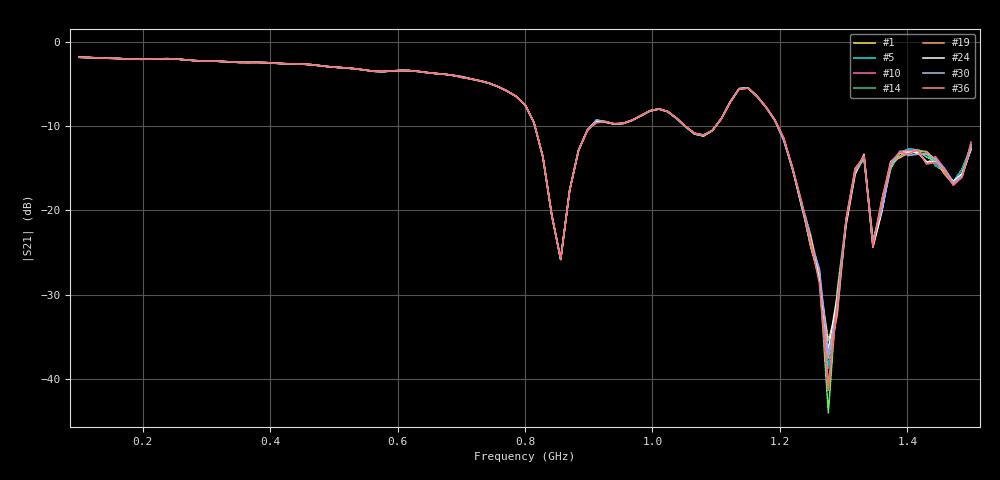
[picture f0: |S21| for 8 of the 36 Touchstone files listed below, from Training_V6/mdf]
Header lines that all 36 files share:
! NanoVNA-App
! Start: 100MHz Stop: 1,5GHz Points: 101
! S-Parameter data: F S11 S21 S12 S22
# Hz S RI R 50
!  Frequency  S11_Real  S11_Imag  S21_Real  S21_Imag  S12_Real  S12_Imag  S22_Real  S22_Imag
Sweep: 100 MHz to 1.5 GHz
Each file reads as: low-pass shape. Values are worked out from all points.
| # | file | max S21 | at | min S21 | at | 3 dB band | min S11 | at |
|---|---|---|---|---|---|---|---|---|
| 1 | mdf (801).s2p | -1.80 dB | 100 MHz | -35.5 dB | 1.276 GHz | 100 MHz-730 MHz | -39.0 dB | 128 MHz |
| 2 | mdf (805).s2p | -1.80 dB | 100 MHz | -37.0 dB | 1.276 GHz | 100 MHz-730 MHz | -39.0 dB | 128 MHz |
| 3 | mdf (806).s2p | -1.80 dB | 100 MHz | -39.0 dB | 1.276 GHz | 100 MHz-730 MHz | -39.0 dB | 128 MHz |
| 4 | mdf (807).s2p | -1.80 dB | 100 MHz | -39.2 dB | 1.276 GHz | 100 MHz-730 MHz | -39.0 dB | 128 MHz |
| 5 | mdf (808).s2p | -1.80 dB | 100 MHz | -38.7 dB | 1.276 GHz | 100 MHz-730 MHz | -39.0 dB | 128 MHz |
| 6 | mdf (809).s2p | -1.80 dB | 100 MHz | -37.3 dB | 1.276 GHz | 100 MHz-730 MHz | -39.0 dB | 128 MHz |
| 7 | mdf (810).s2p | -1.80 dB | 100 MHz | -36.0 dB | 1.276 GHz | 100 MHz-730 MHz | -39.0 dB | 128 MHz |
| 8 | mdf (811).s2p | -1.80 dB | 100 MHz | -38.2 dB | 1.276 GHz | 100 MHz-730 MHz | -39.0 dB | 128 MHz |
| 9 | mdf (812).s2p | -1.80 dB | 100 MHz | -37.8 dB | 1.276 GHz | 100 MHz-730 MHz | -39.0 dB | 128 MHz |
| 10 | mdf (814).s2p | -1.80 dB | 100 MHz | -40.7 dB | 1.276 GHz | 100 MHz-730 MHz | -39.0 dB | 128 MHz |
| 11 | mdf (815).s2p | -1.80 dB | 100 MHz | -37.9 dB | 1.276 GHz | 100 MHz-730 MHz | -39.0 dB | 128 MHz |
| 12 | mdf (816).s2p | -1.80 dB | 100 MHz | -38.8 dB | 1.276 GHz | 100 MHz-730 MHz | -38.9 dB | 128 MHz |
| 13 | mdf (817).s2p | -1.80 dB | 100 MHz | -37.4 dB | 1.276 GHz | 100 MHz-730 MHz | -39.0 dB | 128 MHz |
| 14 | mdf (818).s2p | -1.80 dB | 100 MHz | -44.1 dB | 1.276 GHz | 100 MHz-730 MHz | -39.0 dB | 128 MHz |
| 15 | mdf (819).s2p | -1.80 dB | 100 MHz | -39.4 dB | 1.276 GHz | 100 MHz-730 MHz | -39.0 dB | 128 MHz |
| 16 | mdf (820).s2p | -1.80 dB | 100 MHz | -45.1 dB | 1.276 GHz | 100 MHz-730 MHz | -39.0 dB | 128 MHz |
| 17 | mdf (821).s2p | -1.80 dB | 100 MHz | -36.3 dB | 1.276 GHz | 100 MHz-730 MHz | -39.0 dB | 128 MHz |
| 18 | mdf (822).s2p | -1.80 dB | 100 MHz | -35.8 dB | 1.276 GHz | 100 MHz-730 MHz | -39.0 dB | 128 MHz |
| 19 | mdf (823).s2p | -1.80 dB | 100 MHz | -37.6 dB | 1.276 GHz | 100 MHz-730 MHz | -39.0 dB | 128 MHz |
| 20 | mdf (824).s2p | -1.80 dB | 100 MHz | -37.9 dB | 1.276 GHz | 100 MHz-730 MHz | -39.0 dB | 128 MHz |
| 21 | mdf (825).s2p | -1.80 dB | 100 MHz | -38.3 dB | 1.276 GHz | 100 MHz-730 MHz | -39.0 dB | 128 MHz |
| 22 | mdf (826).s2p | -1.80 dB | 100 MHz | -41.5 dB | 1.276 GHz | 100 MHz-730 MHz | -39.0 dB | 128 MHz |
| 23 | mdf (827).s2p | -1.80 dB | 100 MHz | -41.0 dB | 1.276 GHz | 100 MHz-730 MHz | -39.0 dB | 128 MHz |
| 24 | mdf (828).s2p | -1.80 dB | 100 MHz | -36.6 dB | 1.276 GHz | 100 MHz-730 MHz | -38.9 dB | 128 MHz |
| 25 | mdf (829).s2p | -1.80 dB | 100 MHz | -37.4 dB | 1.276 GHz | 100 MHz-730 MHz | -39.0 dB | 128 MHz |
| 26 | mdf (830).s2p | -1.80 dB | 100 MHz | -38.9 dB | 1.276 GHz | 100 MHz-730 MHz | -39.0 dB | 128 MHz |
| 27 | mdf (831).s2p | -1.80 dB | 100 MHz | -36.3 dB | 1.276 GHz | 100 MHz-730 MHz | -38.9 dB | 128 MHz |
| 28 | mdf (832).s2p | -1.80 dB | 100 MHz | -34.6 dB | 1.276 GHz | 100 MHz-730 MHz | -39.0 dB | 128 MHz |
| 29 | mdf (833).s2p | -1.80 dB | 100 MHz | -41.6 dB | 1.276 GHz | 100 MHz-730 MHz | -39.0 dB | 128 MHz |
| 30 | mdf (834).s2p | -1.80 dB | 100 MHz | -37.2 dB | 1.276 GHz | 100 MHz-730 MHz | -39.0 dB | 128 MHz |
| 31 | mdf (835).s2p | -1.80 dB | 100 MHz | -40.4 dB | 1.276 GHz | 100 MHz-730 MHz | -39.0 dB | 128 MHz |
| 32 | mdf (836).s2p | -1.80 dB | 100 MHz | -36.5 dB | 1.276 GHz | 100 MHz-730 MHz | -39.0 dB | 128 MHz |
| 33 | mdf (837).s2p | -1.80 dB | 100 MHz | -38.5 dB | 1.276 GHz | 100 MHz-730 MHz | -39.0 dB | 128 MHz |
| 34 | mdf (838).s2p | -1.80 dB | 100 MHz | -38.9 dB | 1.276 GHz | 100 MHz-730 MHz | -39.0 dB | 128 MHz |
| 35 | mdf (839).s2p | -1.80 dB | 100 MHz | -35.7 dB | 1.276 GHz | 100 MHz-730 MHz | -39.0 dB | 128 MHz |
| 36 | mdf (840).s2p | -1.80 dB | 100 MHz | -41.4 dB | 1.276 GHz | 100 MHz-730 MHz | -39.0 dB | 128 MHz |
